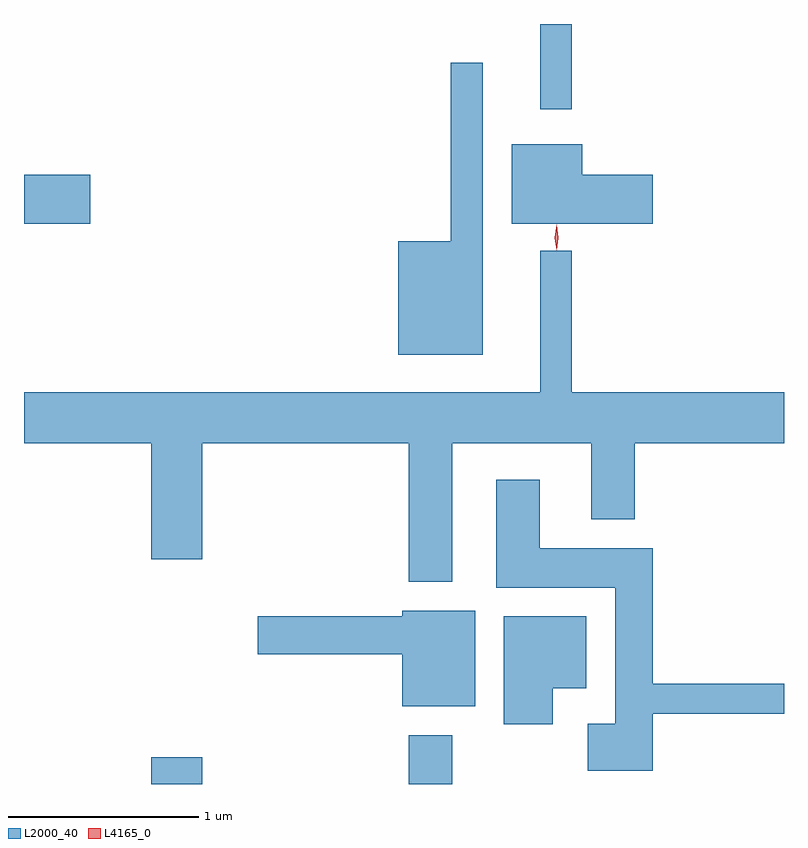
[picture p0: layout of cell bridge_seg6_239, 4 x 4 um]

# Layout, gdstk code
import gdstk
lib = gdstk.Library(unit=1e-6, precision=1e-09)
def R(c, l, rs):  # rectangles x0, y0, x1, y1
    for r in rs: c.add(gdstk.rectangle(r[:2], r[2:], *l))
def P(c, l, *ps):  # polygons
    for p in ps: c.add(gdstk.Polygon(p, *l))
L2000_40 = (2000, 40)
L4165_0 = (4165, 0)

bridge_seg6_239 = lib.new_cell('bridge_seg6_239')
R(bridge_seg6_239, L2000_40, [(1134.156,1539.362,1134.424,1539.504), (1135.511,1539.362,1135.739,1539.619), (1133.485,1542.311,1133.834,1542.569), (1136.201,1542.913,1136.369,1543.362)])
P(bridge_seg6_239, L2000_40, [(1135.899,1543.158),(1135.731,1543.158),(1135.731,1542.219),(1135.456,1542.219),(1135.456,1541.621),(1135.899,1541.621)],
  [(1136.794,1542.569),(1136.424,1542.569),(1136.424,1542.729),(1136.051,1542.729),(1136.051,1542.311),(1136.794,1542.311)],
  [(1135.739,1541.156),(1136.471,1541.156),(1136.471,1540.756),(1136.699,1540.756),(1136.699,1541.156),(1137.485,1541.156),(1137.485,1541.424),(1136.369,1541.424),(1136.369,1542.168),(1136.201,1542.168),(1136.201,1541.424),(1133.485,1541.424),(1133.485,1541.156),(1134.156,1541.156),(1134.156,1540.546),(1134.424,1540.546),(1134.424,1541.156),(1135.511,1541.156),(1135.511,1540.426),(1135.739,1540.426)],
  [(1136.794,1539.731),(1137.485,1539.731),(1137.485,1539.889),(1136.794,1539.889),(1136.794,1540.604),(1136.199,1540.604),(1136.199,1540.964),(1135.971,1540.964),(1135.971,1540.396),(1136.596,1540.396),(1136.596,1539.679),(1136.451,1539.679),(1136.451,1539.431),(1136.794,1539.431)],
  [(1135.859,1540.274),(1135.476,1540.274),(1135.476,1540.244),(1134.716,1540.244),(1134.716,1540.046),(1135.476,1540.046),(1135.476,1539.771),(1135.859,1539.771)],
  [(1136.269,1539.866),(1136.444,1539.866),(1136.444,1540.244),(1136.011,1540.244),(1136.011,1539.676),(1136.269,1539.676)])
P(bridge_seg6_239, L4165_0, [(1136.288,1542.173),(1136.288,1542.174),(1136.278,1542.236),(1136.288,1542.3),(1136.288,1542.3),(1136.288,1542.3),(1136.298,1542.236),(1136.288,1542.174)],
  [(1136.288,1542.17),(1136.288,1542.17),(1136.278,1542.238),(1136.288,1542.305),(1136.288,1542.306),(1136.289,1542.305),(1136.298,1542.238),(1136.289,1542.17)])

lib.write_gds('bridge_seg6_239.gds')
